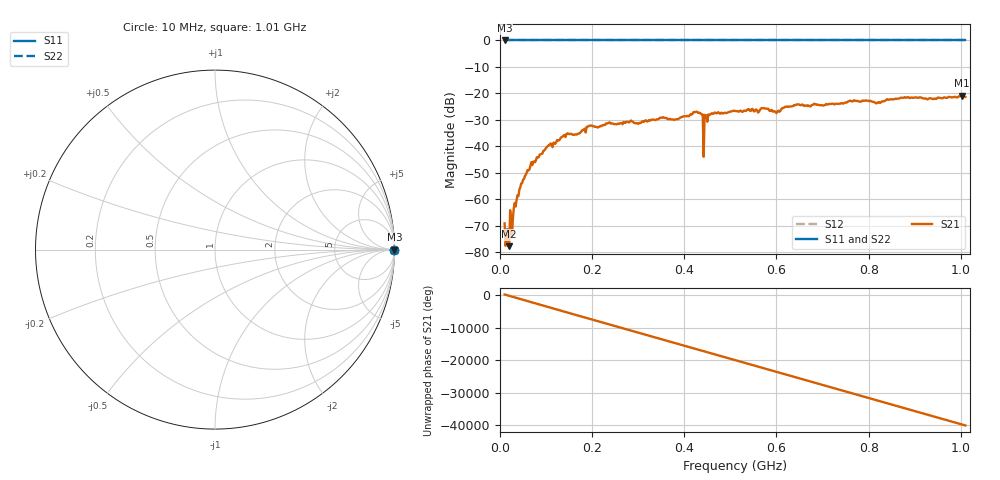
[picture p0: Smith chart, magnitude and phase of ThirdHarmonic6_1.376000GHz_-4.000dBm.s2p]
! 8/16/2025 3:36:30 PM
! C:\ANRITSUVNA\TEMP\TEMP.S2P
! CHANNEL.1
! TR.MEASUREMENT
! RAW.DATA
! RF.CORRECTION.OFF
! AVERAGING.OFF
! IF.BANDWIDTH: 5KHZ
! SWEEPTYPE:  FREQ.SWEEP(Linear)
! Reference Plane Port Info
! PORT:  PORT1  PORT2
! DISTANCE:  0  m  0  m
! TIME:  0  s  0  s
! PHASE.OFFSET:  0  deg.  0  deg.
! LOSS:  0  dB  0  dB
! REF.LOSS:  0  dB  0  dB
! REF.FREQ:  0  Hz  0  Hz
! Power Info
! POWER:  -20  dBm  -20  dBm
! EFF.POWER:  -20  dBm  -20  dBm
! SOURCE.ATTEN:  0  dB  0  dB
! TEST.ATTEN:  0  dB  0  dB
# GHZ S RI R 50.0
! FREQ.GHZ  S11RE  S11IM  S21RE  S21IM  S12RE  S12IM  S22RE  S22IM
!; PortSelection: Port_12
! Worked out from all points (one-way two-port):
!   501 points, 10 MHz to 1.01 GHz, reference 50 ohm
!   highest |S21| = -20.89 dB at 1.002 GHz (marker M1); lowest = -77.6 dB at 20 MHz (marker M2)
!   lowest |S11| = 0.0 dB at 10 MHz (marker M3)
!   |S11| at or under -10 dB: nowhere
!   |S22| runs from 0.0 to 0.0 dB; largest |S21 - S12| = 1.1
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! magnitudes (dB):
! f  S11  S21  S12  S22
! 10 MHz  0.0  -69.0  0.0  0.0
! 16 MHz  0.0  -71.2  0.0  0.0
! 20 MHz  0.0  -77.6  0.0  0.0
! 22 MHz  0.0  -64.1  0.0  0.0
! 34 MHz  0.0  -62.7  0.0  0.0
! 46 MHz  0.0  -54.0  0.0  0.0
! 70 MHz  0.0  -47.1  0.0  0.0
! 106 MHz  0.0  -39.5  0.0  0.0
! 178 MHz  0.0  -33.9  0.0  0.0
! 344 MHz  0.0  -29.7  0.0  0.0
! 424 MHz  0.0  -27.1  0.0  0.0
! 436 MHz  0.0  -27.6  0.0  0.0
! 438 MHz  0.0  -27.9  0.0  0.0
! 446 MHz  0.0  -28.2  0.0  0.0
! 448 MHz  0.0  -28.3  0.0  0.0
! 456 MHz  0.0  -28.0  0.0  0.0
! 510 MHz  0.0  -26.6  0.0  0.0
! 602 MHz  0.0  -26.8  0.0  0.0
! 678 MHz  0.0  -24.3  0.0  0.0
! 844 MHz  0.0  -22.4  0.0  0.0
! 1.002 GHz  0.0  -20.9  0.0  0.0
! 1.01 GHz  0.0  -21.3  0.0  0.0
